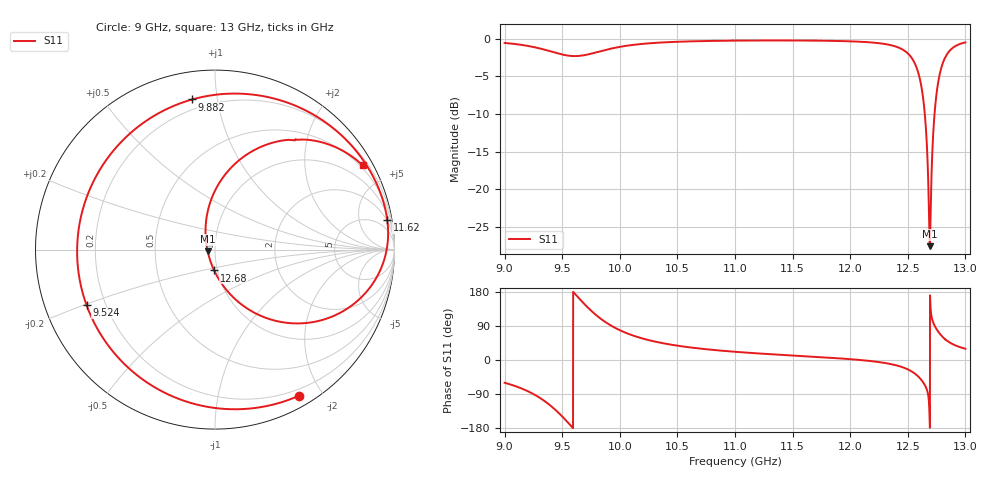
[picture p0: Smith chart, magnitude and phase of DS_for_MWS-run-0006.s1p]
! TOUCHSTONE file generated by CST DESIGN STUDIO
! Date and time: Tue Feb  4 17:37:55 2025
! Project name: C:\Work\MatlabApps\UnitCellOptimizationMatlab\CST\unitcell.cst
! Tree item: Tasks\Sweep1\SPara1\S-Parameters
! Header version: 2024
! Port assignment regex: !\s*Touchstone port\s*([0-9]+)\s*=\s*(CST MWS port|CST DES external port|CST DES block port)\s*(.+)\s* \(\"(.*)\"\)(\s*mode\s*([0-9]+))?.*
! Touchstone port assignment:
! Touchstone port 1 = CST DES external port 1 ("")
# GHz S MA R 50
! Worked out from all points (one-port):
!   4001 points, 9 GHz to 13 GHz, reference 50 ohm
!   lowest |S11| = -27.5 dB at 12.69 GHz (marker M1), VSWR 1.09, Z = 46 - j0.81 ohm
!   |S11| at or under -10 dB: 12.65 GHz to 12.73 GHz (84.2 MHz wide, 0.664 % of centre)
!   S11 on the Smith chart (normalised r, x): 9 GHz: 0.13, -1.72; 9.524 GHz: 0.13, -0.20; 9.882 GHz: 0.14, +0.85; 11.62 GHz: 2, +11; 12.68 GHz: 0.96, -0.23; 13 GHz: 0.41, +3.72
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9  0.939 -60.0
9.151  0.9105 -75.6
9.301  0.8649 -99.0
9.403  0.8241 -121.5
9.5  0.7868 -149.0
9.524  0.7798 -156.6
9.596  0.7682 179.5
9.668  0.7734 155.5
9.774  0.805 123.8
9.882  0.8461 98.7
10  0.8843 78.6
10.218  0.9288 55.0
10.5  0.9559 37.8
11  0.9727 21.7
11.5  0.9749 11.8
11.615  0.9739 9.8
12  0.9625 2.2
12.332  0.9149 -9.5
12.5  0.8006 -24.7
12.622  0.4624 -54.3
12.654  0.2761 -69.9
12.677  0.1159 -92.4
12.691  0.04201 -167.9
12.703  0.1036 120.7
12.736  0.344 88.7
12.781  0.5999 68.2
12.879  0.8565 43.6
13  0.9467 29.8
